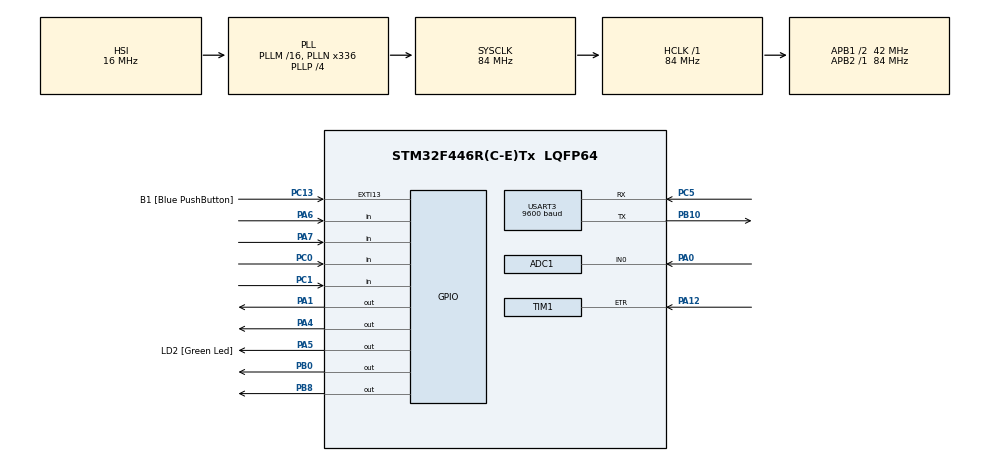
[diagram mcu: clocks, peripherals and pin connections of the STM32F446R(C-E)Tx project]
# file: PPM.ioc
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ADC1.Channel-0\#ChannelRegularConversion=ADC_CHANNEL_0
ADC1.ClockPrescaler=ADC_CLOCK_SYNC_PCLK_DIV8
ADC1.NbrOfConversionFlag=1
ADC1.Rank-0\#ChannelRegularConversion=1
ADC1.Resolution=ADC_RESOLUTION_12B
ADC1.SamplingTime-0\#ChannelRegularConversion=ADC_SAMPLETIME_3CYCLES
ADC1.master=1
Mcu.Family=STM32F4
Mcu.Name=STM32F446R(C-E)Tx
Mcu.Package=LQFP64
NVIC.PriorityGroup=NVIC_PRIORITYGROUP_0
NVIC.TIM2_IRQn=true\:0\:0\:false\:false\:true\:true\:true\:true
NVIC.USART3_IRQn=true\:0\:0\:false\:false\:true\:true\:true\:true
PA0-WKUP.Signal=ADCx_IN0
PA1.GPIO_Speed=GPIO_SPEED_FREQ_LOW
PA1.Signal=GPIO_Output
PA12.Signal=S_TIM1_ETR
PA13.GPIO_Label=TMS
PA13.Mode=Serial_Wire
PA13.Signal=SYS_JTMS-SWDIO
PA14.GPIO_Label=TCK
PA14.Mode=Serial_Wire
PA14.Signal=SYS_JTCK-SWCLK
PA2.GPIO_Label=USART_TX
PA2.Signal=USART2_TX
PA3.GPIO_Label=USART_RX
PA3.Signal=USART2_RX
PA4.Signal=GPIO_Output
PA5.GPIO_Label=LD2 [Green Led]
PA5.Signal=GPIO_Output
PA6.GPIO_PuPd=GPIO_PULLDOWN
PA6.Signal=GPIO_Input
PA7.GPIO_PuPd=GPIO_PULLDOWN
PA7.Signal=GPIO_Input
PB0.Signal=GPIO_Output
PB10.Mode=Asynchronous
PB10.Signal=USART3_TX
PB3.GPIO_Label=SWO
PB3.Signal=SYS_JTDO-SWO
PB8.Signal=GPIO_Output
PC0.GPIO_PuPd=GPIO_PULLDOWN
PC0.Signal=GPIO_Input
PC1.GPIO_PuPd=GPIO_PULLDOWN
PC1.Signal=GPIO_Input
PC13.GPIO_Label=B1 [Blue PushButton]
PC13.GPIO_ModeDefaultEXTI=GPIO_MODE_IT_FALLING
PC13.Signal=GPXTI13
PC14-OSC32_IN.Mode=LSE-External-Oscillator
PC14-OSC32_IN.Signal=RCC_OSC32_IN
PC15-OSC32_OUT.Mode=LSE-External-Oscillator
PC15-OSC32_OUT.Signal=RCC_OSC32_OUT
PC5.Mode=Asynchronous
PC5.Signal=USART3_RX
PH0-OSC_IN.Mode=HSE-External-Oscillator
PH0-OSC_IN.Signal=RCC_OSC_IN
PH1-OSC_OUT.Mode=HSE-External-Oscillator
PH1-OSC_OUT.Signal=RCC_OSC_OUT
ProjectManager.HeapSize=0x200
ProjectManager.StackSize=0x400
ProjectManager.TargetToolchain=STM32CubeIDE
RCC.48MHZClocksFreq_Value=84000000
RCC.AHBFreq_Value=84000000
RCC.APB1CLKDivider=RCC_HCLK_DIV2
RCC.APB1Freq_Value=42000000
RCC.APB1TimFreq_Value=84000000
RCC.APB2Freq_Value=84000000
RCC.APB2TimFreq_Value=84000000
RCC.CortexFreq_Value=84000000
RCC.FLatency-AdvancedSettings=FLASH_LATENCY_2
RCC.HCLKFreq_Value=84000000
RCC.HSE_VALUE=8000000
RCC.HSI_VALUE=16000000
RCC.PLLN=336
RCC.PLLP=RCC_PLLP_DIV4
RCC.SYSCLKFreq_VALUE=84000000
RCC.SYSCLKSource=RCC_SYSCLKSOURCE_PLLCLK
RCC.USBFreq_Value=168000000
RCC.VCOOutputFreq_Value=336000000
SH.ADCx_IN0.0=ADC1_IN0,IN0
SH.S_TIM1_ETR.0=TIM1_ETR,TriggerSource_ETR
TIM1.Period=1799
TIM1.Prescaler=387
TIM1.Slave_TriggerPolarity=TIM_TRIGGERPOLARITY_INVERTED
TIM2.Period=2499
TIM2.Prescaler=4199
USART3.BaudRate=9600
USART3.VirtualMode=VM_ASYNC
VP_TIM1_VS_ClockSourceINT.Mode=Internal
VP_TIM1_VS_ControllerModeTrigger.Mode=Trigger Mode
VP_TIM1_VS_OPM.Mode=OPM_bit
VP_TIM2_VS_ClockSourceINT.Mode=Internal
board=NUCLEO-F446RE

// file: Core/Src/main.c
/* USER CODE BEGIN Header */
/**
 ******************************************************************************
 * @file           : main.c
 * @brief          : Main program body
 ******************************************************************************
 * @attention
 *
 * Copyright (c) 2022 STMicroelectronics.
 * All rights reserved.
 *
 * This software is licensed under terms that can be found in the LICENSE file
 * in the root directory of this software component.
 * If no LICENSE file comes with this software, it is provided AS-IS.
 *
 ******************************************************************************
 */
/* USER CODE END Header */
#include "main.h"

/* USER CODE BEGIN Includes */
#include <stdio.h>
#include <string.h> //bibliotecas utilizadas para acessar strings e outras operações
/* USER CODE END Includes */

ADC_HandleTypeDef hadc1;

TIM_HandleTypeDef htim1;
TIM_HandleTypeDef htim2;

UART_HandleTypeDef huart3;

/* USER CODE BEGIN PV */
int counter=0;
int tempo_aceleracao=0;
int tempo_desaceleracao = 0;
float incremento_sobe=0;
float incremento_desce=0;
char rx [2];
float controle=0;
char msg[1000] = "->SOFTSTARTER 2022<-\n\rInsira:\n\rTempo de Aceleracao;\n\rTempo de Desaceleracao;\n\rCorrente Maxima(mA);\n\r";
float corrente = 0;
int valor_ad = 0;
float decremento_desce = 1500;
float decremento_sobe=0;
float base_tempo_aceleracao;
float base_tempo_desaceleracao;
int liga_des=0;
float angulo_subida=0;
float angulo_descida;
int bypass;
int sobrecorrente;
int corrente_max;
int corrente_partida = 700;
/* USER CODE END PV */

void SystemClock_Config(void);
static void MX_GPIO_Init(void);
static void MX_TIM1_Init(void);
static void MX_TIM2_Init(void);
static void MX_ADC1_Init(void);
static void MX_USART3_UART_Init(void);

int main(void)
{

  /* MCU Configuration--------------------------------------------------------*/

  /* Reset of all peripherals, Initializes the Flash interface and the Systick. */
  HAL_Init();

  /* Configure the system clock */
  SystemClock_Config();

  /* Initialize all configured peripherals */
  MX_GPIO_Init();
  MX_TIM1_Init();
  MX_TIM2_Init();
  MX_ADC1_Init();
  MX_USART3_UART_Init();
  /* USER CODE BEGIN 2 */

  HAL_TIM_Base_Start(&htim1);
  HAL_UART_Transmit(&huart3, msg, sizeof(msg), 100); //Msg Inicial
  /* USER CODE END 2 */

  /* Infinite loop */
	while (1)
	{

    /* USER CODE BEGIN 3 */
		HAL_UART_Receive_IT(&huart3, &rx, sizeof(rx));
		//estamos checando os dados na serial constantemente

		HAL_ADC_Start(&hadc1);
		valor_ad = HAL_ADC_GetValue(&hadc1);
		corrente = valor_ad/2;
		//monitoramento da corrente

		sobrecorrente = HAL_GPIO_ReadPin(GPIOB, GPIO_PIN_8);
		bypass = HAL_GPIO_ReadPin(GPIOA, GPIO_PIN_4);
		//monitoramento dos estados do circuito

		if (corrente >= 1000)
		{
			HAL_GPIO_WritePin(GPIOB, GPIO_PIN_8, GPIO_PIN_SET);
			HAL_GPIO_WritePin(GPIOA, GPIO_PIN_4, GPIO_PIN_RESET);
		}
		//monitora o valor do AD(Sobrecorrente)

		if(corrente<80 && sobrecorrente==1)
		{
			HAL_GPIO_WritePin(GPIOB, GPIO_PIN_8, GPIO_PIN_RESET);
			liga_des=0;
			decremento_desce = 1500;
			incremento_sobe = 0;
			angulo_subida = 0;
			angulo_descida = 0;
			controle =0;
			HAL_TIM_Base_Stop_IT(&htim2);
			sobrecorrente = 0;
		}
		//retorno a operação normal

		if(angulo_subida>0)// Para que o Disparo não ocorra em 0°
		{
			counter = __HAL_TIM_GET_COUNTER(&htim1);
			if(counter>=angulo_subida && counter<=angulo_descida)
			{
				HAL_GPIO_WritePin(GPIOA, GPIO_PIN_1, GPIO_PIN_SET);
			}
			else
			{
				HAL_GPIO_WritePin(GPIOA, GPIO_PIN_1, GPIO_PIN_RESET);
			}
		}//Realização do Pulso

		if(HAL_GPIO_ReadPin(GPIOA, GPIO_PIN_6) && bypass == 0)
		{
			HAL_Delay(250);
			if(HAL_GPIO_ReadPin(GPIOA, GPIO_PIN_6))
			{
				liga_des=1;
				HAL_TIM_Base_Start_IT(&htim2);
			}
		}
		//Configuração do Botão para LIGA(Rampa de Aceleração)

		if(HAL_GPIO_ReadPin(GPIOA, GPIO_PIN_7) && bypass==1)
		{
			HAL_Delay(250);
			if(HAL_GPIO_ReadPin(GPIOA, GPIO_PIN_7))
			{
				liga_des=2;
				HAL_TIM_Base_Start_IT(&htim2);
				HAL_GPIO_WritePin(GPIOA, GPIO_PIN_4, GPIO_PIN_RESET);
			}
		}
		//Configuração do Botão para DESLIGA(Rampa de Desaceleração)

		if(HAL_GPIO_ReadPin(GPIOC, GPIO_PIN_0))
		{
			HAL_Delay(250);
			if(HAL_GPIO_ReadPin(GPIOC, GPIO_PIN_0))
			{
				HAL_GPIO_TogglePin(GPIOB, GPIO_PIN_0);
				liga_des=0;
				decremento_desce = 1500;
				incremento_sobe = 0;
				angulo_subida = 0;
				angulo_descida = 0;
				controle =0;
				HAL_TIM_Base_Stop_IT(&htim2);
				sobrecorrente = 0;
			}
			//Botão Toggle LIGA/DESLIGA da Rede

			if(HAL_GPIO_ReadPin(GPIOC, GPIO_PIN_1))
			{
				HAL_Delay(250);
				if(HAL_GPIO_ReadPin(GPIOC, GPIO_PIN_1))
				{
					HAL_GPIO_WritePin(GPIOB, GPIO_PIN_0, GPIO_PIN_RESET);
					liga_des=0;
					decremento_desce = 1500;
					incremento_sobe = 0;
					angulo_subida = 0;
					angulo_descida = 0;
					controle =0;
					HAL_TIM_Base_Stop_IT(&htim2);
					sobrecorrente = 0;
				}
			}
		//Emergencia
		}
		//Configuração do Botão para DESLIGA(Rampa de Desaceleração)
	}
  /* USER CODE END 3 */
}

void SystemClock_Config(void)
{
  RCC_OscInitTypeDef RCC_OscInitStruct = {0};
  RCC_ClkInitTypeDef RCC_ClkInitStruct = {0};

  /** Configure the main internal regulator output voltage
  */
  __HAL_RCC_PWR_CLK_ENABLE();
  __HAL_PWR_VOLTAGESCALING_CONFIG(PWR_REGULATOR_VOLTAGE_SCALE3);

  /** Initializes the RCC Oscillators according to the specified parameters
  * in the RCC_OscInitTypeDef structure.
  */
  RCC_OscInitStruct.OscillatorType = RCC_OSCILLATORTYPE_HSI;
  RCC_OscInitStruct.HSIState = RCC_HSI_ON;
  RCC_OscInitStruct.HSICalibrationValue = RCC_HSICALIBRATION_DEFAULT;
  RCC_OscInitStruct.PLL.PLLState = RCC_PLL_ON;
  RCC_OscInitStruct.PLL.PLLSource = RCC_PLLSOURCE_HSI;
  RCC_OscInitStruct.PLL.PLLM = 16;
  RCC_OscInitStruct.PLL.PLLN = 336;
  RCC_OscInitStruct.PLL.PLLP = RCC_PLLP_DIV4;
  RCC_OscInitStruct.PLL.PLLQ = 2;
  RCC_OscInitStruct.PLL.PLLR = 2;
  if (HAL_RCC_OscConfig(&RCC_OscInitStruct) != HAL_OK)
  {
    Error_Handler();
  }

  /** Initializes the CPU, AHB and APB buses clocks
  */
  RCC_ClkInitStruct.ClockType = RCC_CLOCKTYPE_HCLK|RCC_CLOCKTYPE_SYSCLK
                              |RCC_CLOCKTYPE_PCLK1|RCC_CLOCKTYPE_PCLK2;
  RCC_ClkInitStruct.SYSCLKSource = RCC_SYSCLKSOURCE_PLLCLK;
  RCC_ClkInitStruct.AHBCLKDivider = RCC_SYSCLK_DIV1;
  RCC_ClkInitStruct.APB1CLKDivider = RCC_HCLK_DIV2;
  RCC_ClkInitStruct.APB2CLKDivider = RCC_HCLK_DIV1;

  if (HAL_RCC_ClockConfig(&RCC_ClkInitStruct, FLASH_LATENCY_2) != HAL_OK)
  {
    Error_Handler();
  }
}

static void MX_ADC1_Init(void)
{

  ADC_ChannelConfTypeDef sConfig = {0};

  /** Configure the global features of the ADC (Clock, Resolution, Data Alignment and number of conversion)
  */
  hadc1.Instance = ADC1;
  hadc1.Init.ClockPrescaler = ADC_CLOCK_SYNC_PCLK_DIV8;
  hadc1.Init.Resolution = ADC_RESOLUTION_12B;
  hadc1.Init.ScanConvMode = DISABLE;
  hadc1.Init.ContinuousConvMode = DISABLE;
  hadc1.Init.DiscontinuousConvMode = DISABLE;
  hadc1.Init.ExternalTrigConvEdge = ADC_EXTERNALTRIGCONVEDGE_NONE;
  hadc1.Init.ExternalTrigConv = ADC_SOFTWARE_START;
  hadc1.Init.DataAlign = ADC_DATAALIGN_RIGHT;
  hadc1.Init.NbrOfConversion = 1;
  hadc1.Init.DMAContinuousRequests = DISABLE;
  hadc1.Init.EOCSelection = ADC_EOC_SINGLE_CONV;
  if (HAL_ADC_Init(&hadc1) != HAL_OK)
  {
    Error_Handler();
  }

  /** Configure for the selected ADC regular channel its corresponding rank in the sequencer and its sample time.
  */
  sConfig.Channel = ADC_CHANNEL_0;
  sConfig.Rank = 1;
  sConfig.SamplingTime = ADC_SAMPLETIME_3CYCLES;
  if (HAL_ADC_ConfigChannel(&hadc1, &sConfig) != HAL_OK)
  {
    Error_Handler();
  }

}

static void MX_TIM1_Init(void)
{

  TIM_ClockConfigTypeDef sClockSourceConfig = {0};
  TIM_SlaveConfigTypeDef sSlaveConfig = {0};
  TIM_MasterConfigTypeDef sMasterConfig = {0};

  htim1.Instance = TIM1;
  htim1.Init.Prescaler = 387;
  htim1.Init.CounterMode = TIM_COUNTERMODE_UP;
  htim1.Init.Period = 1799;
  htim1.Init.ClockDivision = TIM_CLOCKDIVISION_DIV1;
  htim1.Init.RepetitionCounter = 0;
  htim1.Init.AutoReloadPreload = TIM_AUTORELOAD_PRELOAD_DISABLE;
  if (HAL_TIM_Base_Init(&htim1) != HAL_OK)
  {
    Error_Handler();
  }
  sClockSourceConfig.ClockSource = TIM_CLOCKSOURCE_INTERNAL;
  if (HAL_TIM_ConfigClockSource(&htim1, &sClockSourceConfig) != HAL_OK)
  {
    Error_Handler();
  }
  if (HAL_TIM_OnePulse_Init(&htim1, TIM_OPMODE_SINGLE) != HAL_OK)
  {
    Error_Handler();
  }
  sSlaveConfig.SlaveMode = TIM_SLAVEMODE_TRIGGER;
  sSlaveConfig.InputTrigger = TIM_TS_ETRF;
  sSlaveConfig.TriggerPolarity = TIM_TRIGGERPOLARITY_INVERTED;
  sSlaveConfig.TriggerPrescaler = TIM_TRIGGERPRESCALER_DIV1;
  sSlaveConfig.TriggerFilter = 0;
  if (HAL_TIM_SlaveConfigSynchro(&htim1, &sSlaveConfig) != HAL_OK)
  {
    Error_Handler();
  }
  sMasterConfig.MasterOutputTrigger = TIM_TRGO_RESET;
  sMasterConfig.MasterSlaveMode = TIM_MASTERSLAVEMODE_DISABLE;
  if (HAL_TIMEx_MasterConfigSynchronization(&htim1, &sMasterConfig) != HAL_OK)
  {
    Error_Handler();
  }

}

static void MX_TIM2_Init(void)
{

  TIM_ClockConfigTypeDef sClockSourceConfig = {0};
  TIM_MasterConfigTypeDef sMasterConfig = {0};

  htim2.Instance = TIM2;
  htim2.Init.Prescaler = 4199;
  htim2.Init.CounterMode = TIM_COUNTERMODE_UP;
  htim2.Init.Period = 2499;
  htim2.Init.ClockDivision = TIM_CLOCKDIVISION_DIV1;
  htim2.Init.AutoReloadPreload = TIM_AUTORELOAD_PRELOAD_DISABLE;
  if (HAL_TIM_Base_Init(&htim2) != HAL_OK)
  {
    Error_Handler();
  }
  sClockSourceConfig.ClockSource = TIM_CLOCKSOURCE_INTERNAL;
  if (HAL_TIM_ConfigClockSource(&htim2, &sClockSourceConfig) != HAL_OK)
  {
    Error_Handler();
  }
  sMasterConfig.MasterOutputTrigger = TIM_TRGO_RESET;
  sMasterConfig.MasterSlaveMode = TIM_MASTERSLAVEMODE_DISABLE;
  if (HAL_TIMEx_MasterConfigSynchronization(&htim2, &sMasterConfig) != HAL_OK)
  {
    Error_Handler();
  }

}

static void MX_USART3_UART_Init(void)
{

  huart3.Instance = USART3;
  huart3.Init.BaudRate = 9600;
  huart3.Init.WordLength = UART_WORDLENGTH_8B;
  huart3.Init.StopBits = UART_STOPBITS_1;
  huart3.Init.Parity = UART_PARITY_NONE;
  huart3.Init.Mode = UART_MODE_TX_RX;
  huart3.Init.HwFlowCtl = UART_HWCONTROL_NONE;
  huart3.Init.OverSampling = UART_OVERSAMPLING_16;
  if (HAL_UART_Init(&huart3) != HAL_OK)
  {
    Error_Handler();
  }

}

static void MX_GPIO_Init(void)
{
  GPIO_InitTypeDef GPIO_InitStruct = {0};

  /* GPIO Ports Clock Enable */
  __HAL_RCC_GPIOC_CLK_ENABLE();
  __HAL_RCC_GPIOH_CLK_ENABLE();
  __HAL_RCC_GPIOA_CLK_ENABLE();
  __HAL_RCC_GPIOB_CLK_ENABLE();

  /*Configure GPIO pin Output Level */
  HAL_GPIO_WritePin(GPIOA, GPIO_PIN_1|GPIO_PIN_4|LD2_Pin, GPIO_PIN_RESET);

  /*Configure GPIO pin Output Level */
  HAL_GPIO_WritePin(GPIOB, GPIO_PIN_0|GPIO_PIN_8, GPIO_PIN_RESET);

  /*Configure GPIO pin : B1_Pin */
  GPIO_InitStruct.Pin = B1_Pin;
  GPIO_InitStruct.Mode = GPIO_MODE_IT_FALLING;
  GPIO_InitStruct.Pull = GPIO_NOPULL;
  HAL_GPIO_Init(B1_GPIO_Port, &GPIO_InitStruct);

  /*Configure GPIO pins : PC0 PC1 */
  GPIO_InitStruct.Pin = GPIO_PIN_0|GPIO_PIN_1;
  GPIO_InitStruct.Mode = GPIO_MODE_INPUT;
  GPIO_InitStruct.Pull = GPIO_PULLDOWN;
  HAL_GPIO_Init(GPIOC, &GPIO_InitStruct);

  /*Configure GPIO pins : PA1 PA4 LD2_Pin */
  GPIO_InitStruct.Pin = GPIO_PIN_1|GPIO_PIN_4|LD2_Pin;
  GPIO_InitStruct.Mode = GPIO_MODE_OUTPUT_PP;
  GPIO_InitStruct.Pull = GPIO_NOPULL;
  GPIO_InitStruct.Speed = GPIO_SPEED_FREQ_LOW;
  HAL_GPIO_Init(GPIOA, &GPIO_InitStruct);

  /*Configure GPIO pins : USART_TX_Pin USART_RX_Pin */
  GPIO_InitStruct.Pin = USART_TX_Pin|USART_RX_Pin;
  GPIO_InitStruct.Mode = GPIO_MODE_AF_PP;
  GPIO_InitStruct.Pull = GPIO_NOPULL;
  GPIO_InitStruct.Speed = GPIO_SPEED_FREQ_VERY_HIGH;
  GPIO_InitStruct.Alternate = GPIO_AF7_USART2;
  HAL_GPIO_Init(GPIOA, &GPIO_InitStruct);

  /*Configure GPIO pins : PA6 PA7 */
  GPIO_InitStruct.Pin = GPIO_PIN_6|GPIO_PIN_7;
  GPIO_InitStruct.Mode = GPIO_MODE_INPUT;
  GPIO_InitStruct.Pull = GPIO_PULLDOWN;
  HAL_GPIO_Init(GPIOA, &GPIO_InitStruct);

  /*Configure GPIO pins : PB0 PB8 */
  GPIO_InitStruct.Pin = GPIO_PIN_0|GPIO_PIN_8;
  GPIO_InitStruct.Mode = GPIO_MODE_OUTPUT_PP;
  GPIO_InitStruct.Pull = GPIO_NOPULL;
  GPIO_InitStruct.Speed = GPIO_SPEED_FREQ_LOW;
  HAL_GPIO_Init(GPIOB, &GPIO_InitStruct);

}

/* USER CODE BEGIN 4 */

void HAL_TIM_PeriodElapsedCallback(TIM_HandleTypeDef *htim)
{
    if(corrente<corrente_partida)
	{
		base_tempo_aceleracao = (1500/(tempo_aceleracao))/8;
		controle+= 0.125;
	}
	else
	{
		base_tempo_aceleracao = 0;
	}
    //Lógica para dar o pulso sem ultrapassar a corrente de partida
	base_tempo_desaceleracao = (1500/tempo_desaceleracao)/8;

	if(liga_des==1)
	{
		if(decremento_desce!=base_tempo_aceleracao)
		{
			decremento_desce = (decremento_desce - base_tempo_aceleracao);
			decremento_sobe = (decremento_desce - 80);
			angulo_subida=decremento_sobe;
			angulo_descida=decremento_desce;
			if(angulo_subida<=200)
			{
				HAL_GPIO_WritePin(GPIOA, GPIO_PIN_4, GPIO_PIN_SET);
			}
			//Ativando Relé de Bypass
			if(controle==tempo_aceleracao)
			{
				HAL_TIM_Base_Stop_IT(&htim2);
				controle=0;
				incremento_sobe = 0;
			}
			//Parando de Mover o Pulso
		}
	}

	if(liga_des==2)
	{
		if(incremento_sobe<=1500)
		{
			incremento_sobe = incremento_sobe + base_tempo_desaceleracao;
			incremento_desce = incremento_sobe + 80;
			angulo_subida=incremento_sobe;
			angulo_descida=incremento_desce;
			if(controle==tempo_desaceleracao)
			{
				HAL_TIM_Base_Stop_IT(&htim2);
				controle=0;
				decremento_desce = 1500;
			}
			//Parando de Mover o Pulso
		}
	}
}
void HAL_UART_RxCpltCallback(UART_HandleTypeDef *huart)
{

		tempo_aceleracao= (rx[0]);
		tempo_desaceleracao= (rx[1]);
		if(rx[0]!=0){
		liga_des = 1;
		if ((tempo_aceleracao>=5 && tempo_aceleracao<=50)&& (tempo_desaceleracao>=5 && tempo_desaceleracao<=50))
		{
			sprintf(msg,"O Tempo de subida foi configurado para %-3d s \n\r", tempo_aceleracao);
			HAL_UART_Transmit(&huart3,msg, sizeof(msg), 1000);
			sprintf(msg,"O Tempo de descida foi configurado para %-3d s \n\r", tempo_desaceleracao);
			HAL_UART_Transmit(&huart3,msg, sizeof(msg), 1000);
		}
		else
		{
			sprintf(msg,"Os Tempos devem estar entre 05 e 50 segundos.\n\r Digite valores nessa faixa!\n\r");
			tempo_aceleracao = 0;
			tempo_desaceleracao = 0;
			HAL_UART_Transmit(&huart3,msg, sizeof(msg), 1000);
		}
		}
		if (rx[0] == 2)
		{
			liga_des =2;
		}
}

/* USER CODE END 4 */

void Error_Handler(void)
{
	__disable_irq();
	while (1)
	{
	}
}
